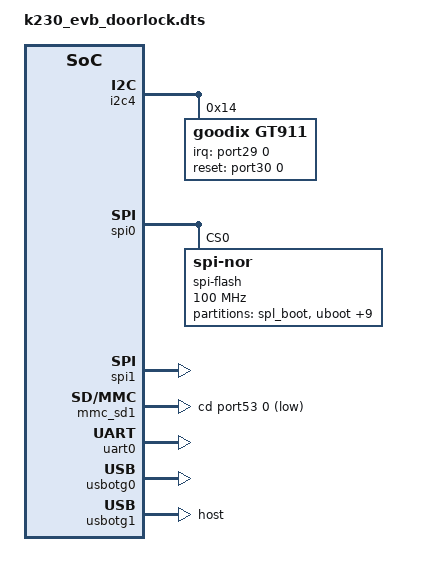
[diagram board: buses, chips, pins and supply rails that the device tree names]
/* Copyright (c) 2023, Canaan Bright Sight Co., Ltd
 *
 * This program is free software; you can redistribute it and/or modify
 * it under the terms of the GNU General Public License version 2 as
 * published by the Free Software Foundation.
*/
#include "k230.dtsi"
#include "clock_provider.dtsi"          /* k230 soc clock tree */
#include "clock_consumer.dtsi"          /* k230 soc clock consumer */
#include "reset_provider.dtsi"          /* k230 soc reset provider */
#include "reset_consumer.dtsi"          /* k230 soc reset consumer */
#include "power_provider.dtsi"          /* k230 soc power provider */
#include "power_consumer.dtsi"          /* k230 soc power consumer */
#include "gpio_provider.dtsi"           /* k230 soc gpio provider */
#include "gpio_consumer.dtsi"           /* k230 soc gpio consumer */


/ {
	aliases {
		serial0 = &uart0;
	};

	chosen {
		bootargs = "";
		linux,initrd-start = <0x0 0xa100000>;
		linux,initrd-end = <0x0 0x0>;
		stdout-path = "serial0:115200";
	};
};
&ddr {
	reg = <0x0 0x2800000 0x0 0x26df000>;  /*linux memory config*/
};

&gpio29 {
	status = "okay";
};

&gpio30 {
	status = "okay";
};

&i2c4 {
	status = "okay";
	gt911: touchscreen@5d {
		compatible = "goodix,gt911";
		reg = <0x14>;

		interrupt-parent = <&port29>;
		interrupts = <0 IRQ_TYPE_EDGE_RISING>; /*IRQ_TYPE_LEVEL_HIGH*/
		irq-gpios = <&port29 0 GPIO_ACTIVE_HIGH>;
		reset-gpios = <&port30 0 GPIO_ACTIVE_HIGH>;

		goodix,cfg-group0 = [
			44 38 04 80 07 05 35 00 01 08
			28 08 50 32 03 05 00 00 00 00
			11 11 05 18 1A 1E 14 89 29 0C
			3D 3F 0C 08 00 00 00 2A 02 2C
			32 00 00 00 00 03 64 32 00 00
			00 2D 5A 94 D5 02 00 00 00 04
			8E 30 00 80 37 00 74 3F 00 69
			49 00 60 54 00 60 00 00 00 00
			00 00 00 00 00 00 00 00 00 00
			00 00 00 00 00 00 00 00 00 00
			00 00 00 00 00 00 00 00 00 00
			00 00 18 16 14 12 10 0E 0C 0A
			08 06 04 02 FF FF 00 00 00 00
			00 00 00 00 00 00 00 00 00 00
			00 00 00 02 04 06 08 0A 0F 10
			12 22 21 20 1F 1E 1D 1C 18 16
			FF FF FF FF FF FF FF FF 00 00
			00 00 00 00 00 00 00 00 00 00
			00 00 00 00 34 01
		];
		status = "okay";
	};
};

&spi0 {
	status = "okay";
	spi-flash@0 {
		compatible = "jedec,spi-nor";
		//compatible = "spi-nand";
		//compatible = "rohm,dh2228fv";
		#address-cells = <1>;
		#size-cells = <1>;
		reg = <0>;
		spi-max-frequency = <100000000>;
		spi-tx-bus-width = <8>;
		spi-rx-bus-width = <8>;
		status = "okay";
		partitions {
			compatible = "fixed-partitions";
			#address-cells = <1>;
			#size-cells = <1>;

            partition@0 {
                /* spl boot */
                reg = <0x0 0x00080000>;
                label = "spl_boot";
            };

            partition@80000 {
                /* normal boot */
                reg = <0x00080000 0x00180000>;
                label = "uboot";
            };

            partition@200000 {
                reg = <0x200000 0x80000>;
                label = "quick_boot_cfg ";
            };
            partition@280000 {
                reg = <0x280000 0x80000>;
                label = "face_db";
            };
            partition@300000 {
                reg = <0x300000 0x40000>;
                label = "sensor_cfg";
            };
            partition@a80000 {
                reg = <0xa80000 0x010000>;
                label = "speckle";
            };
            partition@a90000 {
                reg = <0xa90000 0x260000>;
                label = "rttk";
            };
            partition@cf0000 {
                reg = <0xcf0000 0x3c0000>;
                label = "rttapp";
            };
            partition@10B0000 {
                reg = <0x10B0000 0x410000>;
                label = "linux";
            };
            partition@14c0000 {
                reg = <0x14c0000 0xb00000>;
                label = "rootfs";
            };

            partition@2000000 {
                /* 32MB for  update image*/
                reg = <0 0x2000000>;
                label = "all_flash";
            };
		};
	};

};

&gpio18 {
	status = "okay";
};

&gpio22 {
	status = "okay";
};

&gpio20 {
	status = "okay";
};

&spi1 {
	status = "okay";
	spi-lcd@0 {
		compatible = "sitronix,st7735s";
		status = "disabled";
		reg = <0>;
		fps = <30>;
		spi-max-frequency = <25000000>;
		rotate  = <270>;
		buswidth = <8>;
		spi-tx-bus-width = <1>;
		spi-rx-bus-width = <1>;
		cs-gpios = <&port18 0 GPIO_ACTIVE_HIGH>;
		dc-gpios = <&port22 0 GPIO_ACTIVE_HIGH>;
		reset-gpios = <&port20 0 GPIO_ACTIVE_LOW>;
	};
};

&mmc_sd0{
    status = "disabled";
    is_emmc;
    io_fixed_1v8;
    mmc-hs200-1_8v;
    rx_delay_line = <0x00>;
    tx_delay_line = <0xc0>;
};

&gpio53 {
	status = "okay";
};

&mmc_sd1{
    status = "okay";
    cd-gpios = <&port53 0 GPIO_ACTIVE_LOW>;
    no-1-8-v;
    cap-sd-highspeed;
    mshc_ctrl_r = <0x00>;
};

&uart0 {
	status = "okay";
};

&usbotg0 {
	status = "okay";
};

&usbotg1 {
	dr_mode = "host";
	status = "okay";
};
